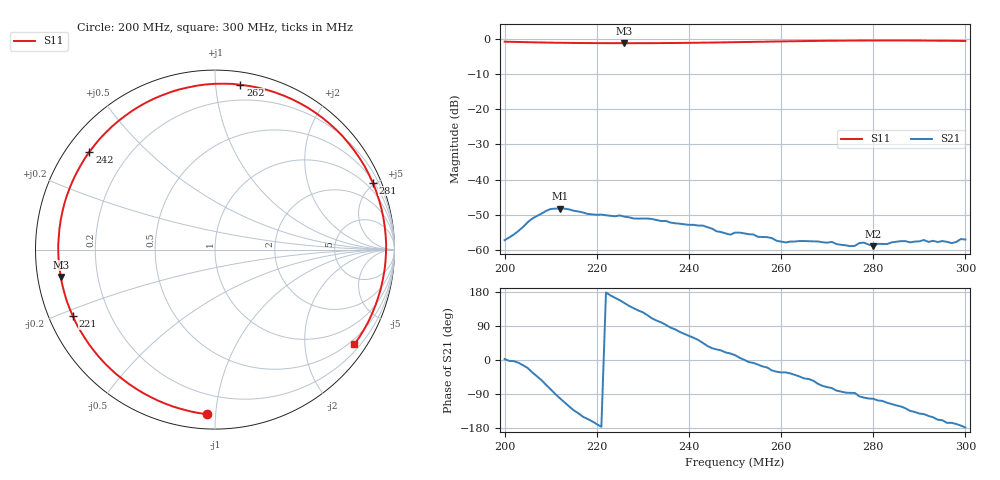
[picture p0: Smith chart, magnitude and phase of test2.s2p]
# HZ S RI R 50
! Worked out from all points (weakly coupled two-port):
!   101 points, 200 MHz to 300 MHz, reference 50 ohm
!   highest |S21| = -48.27 dB at 212 MHz (marker M1); lowest = -59.0 dB at 280 MHz (marker M2)
!   lowest |S11| = -1.2 dB at 226 MHz (marker M3), VSWR 14.65, Z = 3.44 - j4.39 ohm
!   |S11| at or under -10 dB: nowhere
!   S12 and S22 are empty: the file has one direction only
!   S11 on the Smith chart (normalised r, x): 200 MHz: 0.08, -0.95; 221 MHz: 0.07, -0.22; 242 MHz: 0.07, +0.34; 262 MHz: 0.09, +1.16; 281 MHz: 0.57, +4.84; 300 MHz: 0.36, -3.21
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2e8  -0.0427 -0.9167  0.00137 6.12e-05  0 0  0 0
2.06e8  -0.3167 -0.8416  0.00234 -0.0015  0 0  0 0
2.1e8  -0.4767 -0.7505  0.000832 -0.00372  0 0  0 0
2.12e8  -0.5494 -0.6946  -0.000739 -0.00379  0 0  0 0
2.17e8  -0.7025 -0.5268  -0.00294 -0.00171  0 0  0 0
2.21e8  -0.7929 -0.369  -0.00316 -0.000202  0 0  0 0
2.26e8  -0.8588 -0.1526  -0.00257 0.00146  0 0  0 0
2.34e8  -0.8506 0.2094  -0.000411 0.00253  0 0  0 0
2.42e8  -0.6996 0.5446  0.00133 0.00177  0 0  0 0
2.49e8  -0.4625 0.7725  0.00157 0.000486  0 0  0 0
2.5e8  -0.4221 0.7979  0.00171 0.000389  0 0  0 0
2.56e8  -0.1524 0.903  0.00145 -0.000446  0 0  0 0
2.62e8  0.1419 0.9184  0.00107 -0.000758  0 0  0 0
2.67e8  0.3847 0.8571  0.000759 -0.00108  0 0  0 0
2.74e8  0.6779 0.6655  7.93e-05 -0.00115  0 0  0 0
2.78e8  0.8069 0.5078  -0.000204 -0.00125  0 0  0 0
2.8e8  0.8568 0.4197  -0.000239 -0.0011  0 0  0 0
2.81e8  0.8785 0.3737  -0.000349 -0.00116  0 0  0 0
2.84e8  0.9271 0.2295  -0.000562 -0.00114  0 0  0 0
2.92e8  0.9345 -0.1693  -0.00109 -0.00069  0 0  0 0
2.97e8  0.8534 -0.4037  -0.00121 -0.000307  0 0  0 0
3e8  0.7762 -0.5274  -0.0014 -4.84e-05  0 0  0 0
